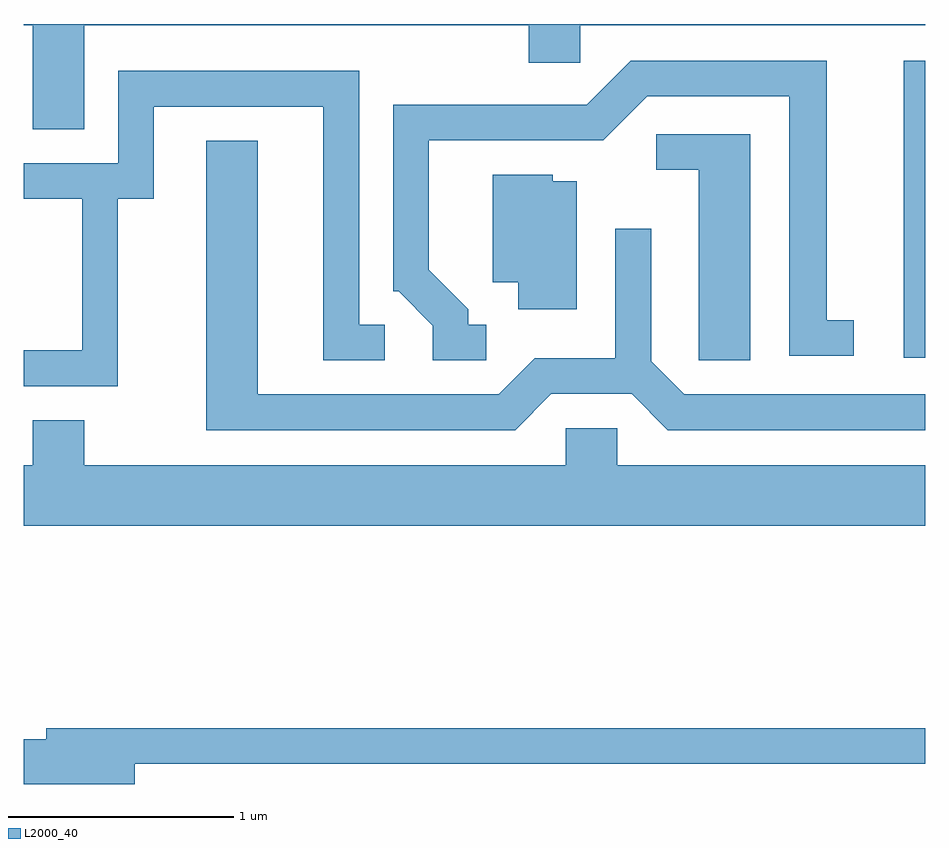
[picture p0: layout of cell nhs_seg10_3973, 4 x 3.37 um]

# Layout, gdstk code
import gdstk
lib = gdstk.Library(unit=1e-6, precision=1e-09)
def R(c, l, rs):  # rectangles x0, y0, x1, y1
    for r in rs: c.add(gdstk.rectangle(r[:2], r[2:], *l))
def P(c, l, *ps):  # polygons
    for p in ps: c.add(gdstk.Polygon(p, *l))
L2000_40 = (2000, 40)

nhs_seg10_3973 = lib.new_cell('nhs_seg10_3973')
R(nhs_seg10_3973, L2000_40, [(305.516,2179.041,305.611,2180.359)])
P(nhs_seg10_3973, L2000_40, [(301.879,2180.516),(303.851,2180.516),(303.851,2180.351),(304.079,2180.351),(304.079,2180.516),(305.611,2180.516),(305.611,2180.522),(301.611,2180.522),(301.611,2180.516),(301.651,2180.516),(301.651,2180.056),(301.879,2180.056)],
  [(303.663,2179.189),(303.584,2179.189),(303.584,2179.257),(303.409,2179.432),(303.409,2180.006),(304.182,2180.006),(304.377,2180.201),(305.006,2180.201),(305.006,2179.051),(305.293,2179.051),(305.293,2179.209),(305.174,2179.209),(305.174,2180.359),(304.304,2180.359),(304.109,2180.164),(303.251,2180.164),(303.251,2179.336),(303.274,2179.336),(303.426,2179.184),(303.426,2179.031),(303.663,2179.031)],
  [(302.029,2179.746),(302.189,2179.746),(302.189,2180.156),(302.941,2180.156),(302.941,2179.031),(303.213,2179.031),(303.213,2179.189),(303.099,2179.189),(303.099,2180.314),(302.031,2180.314),(302.031,2179.904),(301.611,2179.904),(301.611,2179.746),(301.871,2179.746),(301.871,2179.074),(301.611,2179.074),(301.611,2178.916),(302.029,2178.916)],
  [(304.834,2180.034),(304.418,2180.034),(304.418,2179.876),(304.606,2179.876),(304.606,2179.031),(304.834,2179.031)],
  [(303.952,2178.881),(304.309,2178.881),(304.469,2178.721),(305.611,2178.721),(305.611,2178.879),(304.542,2178.879),(304.394,2179.027),(304.394,2179.613),(304.236,2179.613),(304.236,2179.039),(303.879,2179.039),(303.719,2178.879),(302.649,2178.879),(302.649,2180.004),(302.421,2180.004),(302.421,2178.721),(303.792,2178.721)],
  [(304.064,2179.824),(303.959,2179.824),(303.959,2179.854),(303.691,2179.854),(303.691,2179.376),(303.806,2179.376),(303.806,2179.256),(304.064,2179.256)],
  [(305.611,2178.564),(304.244,2178.564),(304.244,2178.729),(304.016,2178.729),(304.016,2178.564),(301.879,2178.564),(301.879,2178.764),(301.651,2178.764),(301.651,2178.564),(301.611,2178.564),(301.611,2178.296),(305.611,2178.296)],
  [(302.104,2177.241),(305.611,2177.241),(305.611,2177.399),(301.711,2177.399),(301.711,2177.349),(301.611,2177.349),(301.611,2177.151),(302.104,2177.151)])

lib.write_gds('nhs_seg10_3973.gds')
